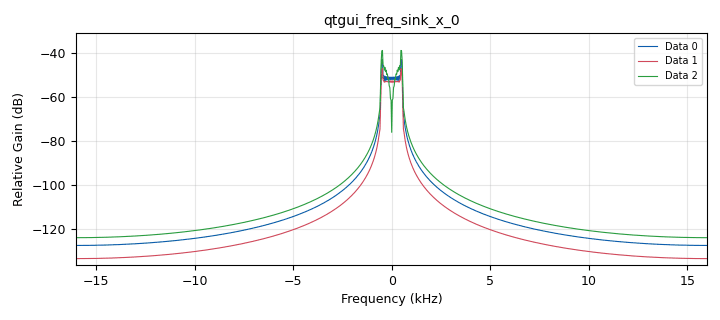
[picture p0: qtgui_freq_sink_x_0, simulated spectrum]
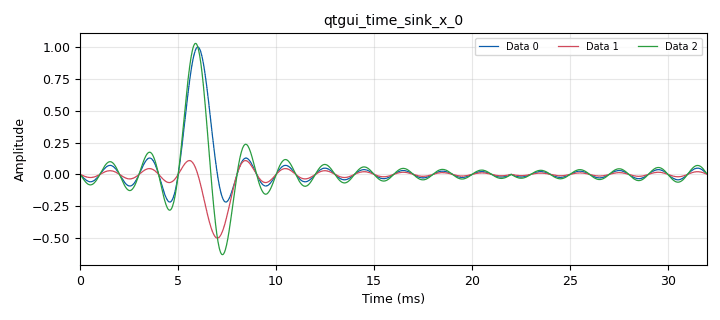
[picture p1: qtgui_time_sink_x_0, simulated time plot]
options:
  parameters:
    generate_options: qt_gui
    id: sinc
    output_language: python
    title: sinc
  states: {}

blocks:
- name: A1
  id: variable_qtgui_range
  parameters:
    start: '-2'
    step: '0.1'
    stop: '2'
    value: '1'
  states: {}
- name: A2
  id: variable_qtgui_range
  parameters:
    start: '-2'
    step: '0.1'
    stop: '2'
    value: '-0.5'
  states: {}
- name: samp_rate
  id: variable
  parameters:
    value: '32000'
  states: {}
- name: t_vals
  id: variable
  parameters:
    value: numpy.arange(-512,512) / 32.0
  states: {}
- name: Sinc
  id: note
  parameters:
    note: Adding two sinc pulses(time-shifted wrt to each other) occupies the same bandwidth as an individual sinc pulse does.
  states: {}
- name: blocks_add_xx_0
  id: blocks_add_xx
  parameters:
    type: float
  states: {}
- name: blocks_throttle2_0
  id: blocks_throttle2
  parameters:
    samples_per_second: samp_rate
    type: float
  states: {}
- name: blocks_vector_source_x_0
  id: blocks_vector_source_x
  parameters:
    repeat: 'True'
    type: float
    vector: A1*numpy.sinc(t_vals)
  states: {}
- name: blocks_vector_source_x_0_0
  id: blocks_vector_source_x
  parameters:
    repeat: 'True'
    type: float
    vector: A2*numpy.sinc(t_vals-1)
  states: {}
- name: import_0
  id: import
  parameters:
    imports: import numpy
  states: {}
- name: qtgui_freq_sink_x_0
  id: qtgui_freq_sink_x
  parameters:
    autoscale: 'True'
    bw: samp_rate
    fc: '0'
    fftsize: '1024'
    grid: 'True'
    label2: ''
    label3: ''
    nconnections: '3'
    showports: 'True'
    type: float
  states: {}
- name: qtgui_time_sink_x_0
  id: qtgui_time_sink_x
  parameters:
    autoscale: 'True'
    grid: 'True'
    label1: ''
    label2: ''
    label3: ''
    nconnections: '3'
    size: '1024'
    srate: samp_rate
    type: float
  states: {}

connections:
- [blocks_add_xx_0, '0', qtgui_freq_sink_x_0, '2']
- [blocks_add_xx_0, '0', qtgui_time_sink_x_0, '2']
- [blocks_throttle2_0, '0', qtgui_freq_sink_x_0, '0']
- [blocks_throttle2_0, '0', qtgui_time_sink_x_0, '0']
- [blocks_vector_source_x_0, '0', blocks_add_xx_0, '0']
- [blocks_vector_source_x_0, '0', blocks_throttle2_0, '0']
- [blocks_vector_source_x_0_0, '0', blocks_add_xx_0, '1']
- [blocks_vector_source_x_0_0, '0', qtgui_freq_sink_x_0, '1']
- [blocks_vector_source_x_0_0, '0', qtgui_time_sink_x_0, '1']

metadata:
  file_format: 1
  grc_version: 3.10.7.0
